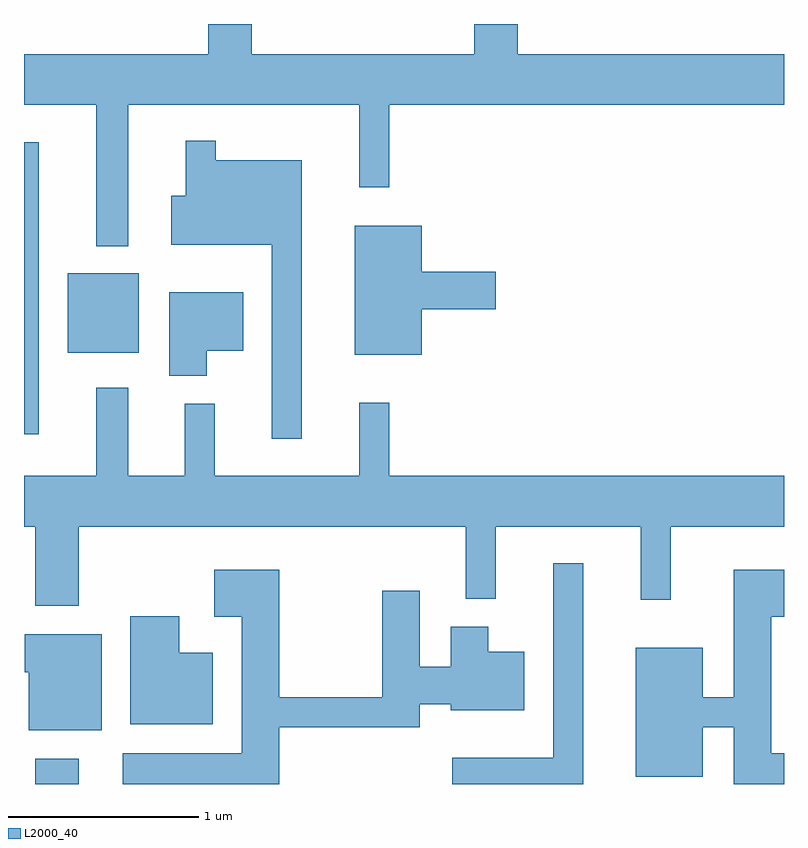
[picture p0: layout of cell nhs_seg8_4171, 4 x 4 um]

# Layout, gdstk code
import gdstk
lib = gdstk.Library(unit=1e-6, precision=1e-09)
def R(c, l, rs):  # rectangles x0, y0, x1, y1
    for r in rs: c.add(gdstk.rectangle(r[:2], r[2:], *l))
def P(c, l, *ps):  # polygons
    for p in ps: c.add(gdstk.Polygon(p, *l))
L2000_40 = (2000, 40)

nhs_seg8_4171 = lib.new_cell('nhs_seg8_4171')
R(nhs_seg8_4171, L2000_40, [(309.671,1888.342,309.899,1888.474), (309.611,1890.183,309.689,1891.719), (309.841,1890.611,310.214,1891.029)])
P(nhs_seg8_4171, L2000_40, [(310.159,1891.916),(311.376,1891.916),(311.376,1891.483),(311.534,1891.483),(311.534,1891.916),(313.611,1891.916),(313.611,1892.184),(312.209,1892.184),(312.209,1892.342),(311.981,1892.342),(311.981,1892.184),(310.809,1892.184),(310.809,1892.342),(310.581,1892.342),(310.581,1892.184),(309.611,1892.184),(309.611,1891.916),(309.991,1891.916),(309.991,1891.173),(310.159,1891.173)],
  [(310.358,1892.342),(309.736,1892.342),(309.736,1892.341),(310.357,1892.341)],
  [(311.074,1891.624),(310.619,1891.624),(310.619,1891.728),(310.461,1891.728),(310.461,1891.439),(310.386,1891.439),(310.386,1891.181),(310.916,1891.181),(310.916,1890.158),(311.074,1890.158)],
  [(311.704,1890.841),(312.094,1890.841),(312.094,1891.039),(311.704,1891.039),(311.704,1891.279),(311.351,1891.279),(311.351,1890.601),(311.704,1890.601)],
  [(310.574,1890.621),(310.764,1890.621),(310.764,1890.929),(310.376,1890.929),(310.376,1890.491),(310.574,1890.491)],
  [(309.899,1889.696),(311.936,1889.696),(311.936,1889.318),(312.094,1889.318),(312.094,1889.696),(312.856,1889.696),(312.856,1889.313),(313.014,1889.313),(313.014,1889.696),(313.611,1889.696),(313.611,1889.964),(311.534,1889.964),(311.534,1890.348),(311.376,1890.348),(311.376,1889.964),(310.614,1889.964),(310.614,1890.343),(310.456,1890.343),(310.456,1889.964),(310.159,1889.964),(310.159,1890.428),(309.991,1890.428),(309.991,1889.964),(309.611,1889.964),(309.611,1889.696),(309.671,1889.696),(309.671,1889.281),(309.899,1889.281)],
  [(312.554,1889.503),(312.396,1889.503),(312.396,1888.479),(311.866,1888.479),(311.866,1888.342),(312.554,1888.342)],
  [(313.611,1888.504),(313.544,1888.504),(313.544,1889.221),(313.611,1889.221),(313.611,1889.469),(313.346,1889.469),(313.346,1888.799),(313.184,1888.799),(313.184,1889.059),(312.831,1889.059),(312.831,1888.381),(313.184,1888.381),(313.184,1888.641),(313.346,1888.641),(313.346,1888.342),(313.611,1888.342)],
  [(310.954,1888.641),(311.694,1888.641),(311.694,1888.761),(311.856,1888.761),(311.856,1888.731),(312.244,1888.731),(312.244,1889.039),(312.054,1889.039),(312.054,1889.169),(311.856,1889.169),(311.856,1888.959),(311.694,1888.959),(311.694,1889.359),(311.496,1889.359),(311.496,1888.799),(310.954,1888.799),(310.954,1889.469),(310.611,1889.469),(310.611,1889.221),(310.756,1889.221),(310.756,1888.504),(310.131,1888.504),(310.131,1888.342),(310.954,1888.342)],
  [(310.604,1889.034),(310.429,1889.034),(310.429,1889.224),(310.171,1889.224),(310.171,1888.656),(310.604,1888.656)],
  [(310.019,1889.129),(309.616,1889.129),(309.616,1888.931),(309.636,1888.931),(309.636,1888.626),(310.019,1888.626)])

lib.write_gds('nhs_seg8_4171.gds')
